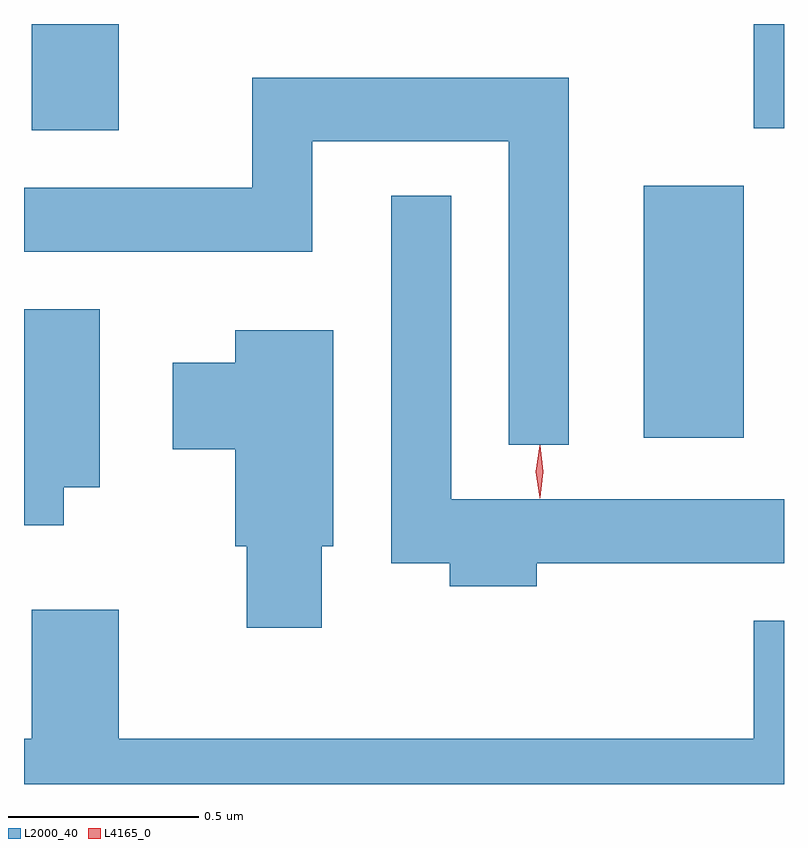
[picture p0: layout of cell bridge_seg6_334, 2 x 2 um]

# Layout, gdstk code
import gdstk
lib = gdstk.Library(unit=1e-6, precision=1e-09)
def R(c, l, rs):  # rectangles x0, y0, x1, y1
    for r in rs: c.add(gdstk.rectangle(r[:2], r[2:], *l))
def P(c, l, *ps):  # polygons
    for p in ps: c.add(gdstk.Polygon(p, *l))
L2000_40 = (2000, 40)
L4165_0 = (4165, 0)

bridge_seg6_334 = lib.new_cell('bridge_seg6_334')
R(bridge_seg6_334, L2000_40, [(1270.471,1557.756,1270.734,1558.419), (1268.861,1558.566,1269.089,1558.845), (1270.761,1558.571,1270.84,1558.845)])
P(bridge_seg6_334, L2000_40, [(1270.274,1558.704),(1269.441,1558.704),(1269.441,1558.414),(1268.84,1558.414),(1268.84,1558.246),(1269.599,1558.246),(1269.599,1558.536),(1270.116,1558.536),(1270.116,1557.738),(1270.274,1557.738)],
  [(1270.189,1557.426),(1270.84,1557.426),(1270.84,1557.594),(1269.964,1557.594),(1269.964,1558.393),(1269.806,1558.393),(1269.806,1557.426),(1269.961,1557.426),(1269.961,1557.366),(1270.189,1557.366)],
  [(1268.944,1557.626),(1269.039,1557.626),(1269.039,1558.094),(1268.84,1558.094),(1268.84,1557.526),(1268.944,1557.526)],
  [(1269.624,1557.471),(1269.654,1557.471),(1269.654,1558.039),(1269.396,1558.039),(1269.396,1557.954),(1269.231,1557.954),(1269.231,1557.726),(1269.396,1557.726),(1269.396,1557.471),(1269.426,1557.471),(1269.426,1557.256),(1269.624,1557.256)],
  [(1270.84,1557.274),(1270.761,1557.274),(1270.761,1556.964),(1269.089,1556.964),(1269.089,1557.304),(1268.861,1557.304),(1268.861,1556.964),(1268.84,1556.964),(1268.84,1556.845),(1270.84,1556.845)])
P(bridge_seg6_334, L4165_0, [(1270.197,1557.597),(1270.197,1557.598),(1270.187,1557.667),(1270.197,1557.736),(1270.197,1557.736),(1270.198,1557.736),(1270.207,1557.667),(1270.198,1557.598)])

lib.write_gds('bridge_seg6_334.gds')
